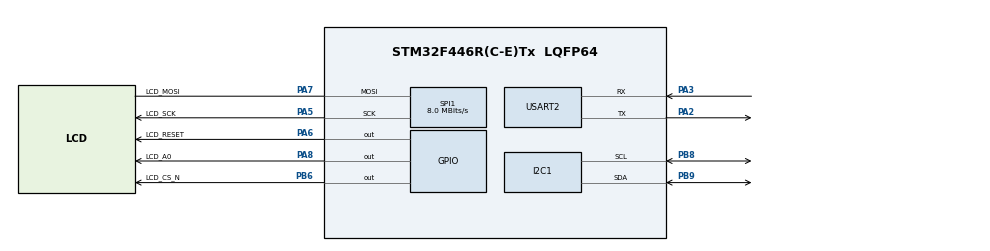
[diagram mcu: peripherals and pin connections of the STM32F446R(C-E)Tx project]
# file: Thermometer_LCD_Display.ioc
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Mcu.Family=STM32F4
Mcu.Name=STM32F446R(C-E)Tx
Mcu.Package=LQFP64
NVIC.PriorityGroup=NVIC_PRIORITYGROUP_4
NVIC.TIM7_IRQn=true\:0\:0\:false\:false\:true\:true\:true\:true
NVIC.USART2_IRQn=true\:0\:0\:false\:false\:true\:true\:true\:true
PA2.Mode=Asynchronous
PA2.Signal=USART2_TX
PA3.Mode=Asynchronous
PA3.Signal=USART2_RX
PA5.GPIO_Label=LCD_SCK
PA5.Mode=Simplex_Bidirectional_Master
PA5.Signal=SPI1_SCK
PA6.GPIO_Label=LCD_RESET
PA6.Signal=GPIO_Output
PA7.GPIO_Label=LCD_MOSI
PA7.Mode=Simplex_Bidirectional_Master
PA7.Signal=SPI1_MOSI
PA8.GPIO_Label=LCD_A0
PA8.Signal=GPIO_Output
PB6.GPIO_Label=LCD_CS_N
PB6.Signal=GPIO_Output
PB8.Mode=I2C
PB8.Signal=I2C1_SCL
PB9.Mode=I2C
PB9.Signal=I2C1_SDA
ProjectManager.HeapSize=0x200
ProjectManager.StackSize=0x400
ProjectManager.TargetToolchain=STM32CubeIDE
RCC.CortexFreq_Value=16000000
RCC.USBFreq_Value=96000000
RCC.VCOOutputFreq_Value=192000000
SPI1.CalculateBaudRate=8.0 MBits/s
SPI1.Direction=SPI_DIRECTION_1LINE
SPI1.Mode=SPI_MODE_MASTER
SPI1.VirtualType=VM_MASTER
TIM7.Period=200
TIM7.Prescaler=15999
USART2.VirtualMode=VM_ASYNC
VP_TIM7_VS_ClockSourceINT.Mode=Enable_Timer
board=custom

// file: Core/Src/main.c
/* USER CODE BEGIN Header */
/**
 ******************************************************************************
 * @file           : main.c
 * @brief          : Main program body
 ******************************************************************************
 * @attention
 *
 * Copyright (c) 2024 STMicroelectronics.
 * All rights reserved.
 *
 * This software is licensed under terms that can be found in the LICENSE file
 * in the root directory of this software component.
 * If no LICENSE file comes with this software, it is provided AS-IS.
 *
 ******************************************************************************
 */
/* USER CODE END Header */
#include "main.h"
#include "i2c.h"
#include "spi.h"
#include "tim.h"
#include "usart.h"
#include "gpio.h"
#include "lcd_driver.h"
#include "stdio.h"
#include "thermo.h"

/* USER CODE BEGIN PV */
int doUpdate = 0;
int yPosition = 4;                  // initial vertical position
int xPosition = 4;                  // initial Horizontal position
int direction = 1;                  // direction of movement (1 = down, -1 = up)

/* USER CODE END PV */

void SystemClock_Config(void);
/* USER CODE BEGIN PFP */
void displayWelcome(void);
int _write(int fd, char *ptr, int len);

/* USER CODE END PFP */

int main(void)
{

	/* MCU Configuration--------------------------------------------------------*/

	/* Reset of all peripherals, Initializes the Flash interface and the Systick. */
	HAL_Init();

	/* Configure the system clock */
	SystemClock_Config();

	/* Initialize all configured peripherals */
	MX_GPIO_Init();
	MX_USART2_UART_Init();
	MX_I2C1_Init();
	MX_SPI1_Init();
	MX_TIM7_Init();
	/* USER CODE BEGIN 2 */

	displayWelcome();

	// Initialize LCD
	lcd_init();
	lcd_clear();

	// Set it to some line
	lcd_setLine(127,0,127,31,1);
	lcd_setLine(0,0,0,31,1);
	lcd_setString(4,3,"All Ladies say", LCD_FONT_8,false);
	lcd_setString(4,15,"'WE LOVE ❤️ ' ",LCD_FONT_8,false);
	lcd_setString(4,25," THE  K - man!  ",LCD_FONT_8,false);
	lcd_show();
	HAL_Delay(2500);
	lcd_clear();

	// Start the Timer
	HAL_TIM_Base_Start_IT(&htim7); // We wanna read the temp every 200ms

	/* USER CODE END 2 */

	/* Infinite loop */
	/* USER CODE BEGIN WHILE */
	char msgBuf[30]; // Preparing Buffer for the message
	while (1)
	{
//		if(doUpdate)
//		{
//			doUpdate = 0; 				// reset update flag
//			float tmp = readTemp(); 	// read actual temperature
//			sprintf(msgBuf,"Temperature: %2.1f%cC",tmp,0x80); // fill message buffer
//			lcd_setString(4,4, msgBuf,LCD_FONT_8, false); // lcd message
//			lcd_show();
//			puts(msgBuf); // Uart message
//			puts("\r");
//		}

		if (doUpdate) {
		        doUpdate = 0;               // reset update flag
		        float tmp = readTemp();     // read actual temperature
		        sprintf(msgBuf, "Temperature: %2.2f %cC", tmp, 0x80); // fill message buffer
		        lcd_clear();

		        // Display temperature at current y-position
		        lcd_setString(xPosition, yPosition, msgBuf, LCD_FONT_8, false);
		        lcd_show();
		        puts(msgBuf);               // Uart message
		        puts("\r");

		        // Adjust y-position for smooth gliding effect
		        yPosition += direction;     // move position up or down

		        // Reverse direction if boundaries are reached
		        if (yPosition >= 16 || yPosition <= 4) {
		            direction *= -1;        // change direction
		        }

		        HAL_Delay(50); // delay to control glide speed
		    }
		/* USER CODE END WHILE */

	}
}

void SystemClock_Config(void)
{
	RCC_OscInitTypeDef RCC_OscInitStruct = {0};
	RCC_ClkInitTypeDef RCC_ClkInitStruct = {0};

	/** Configure the main internal regulator output voltage
	 */
	__HAL_RCC_PWR_CLK_ENABLE();
	__HAL_PWR_VOLTAGESCALING_CONFIG(PWR_REGULATOR_VOLTAGE_SCALE3);

	/** Initializes the RCC Oscillators according to the specified parameters
	 * in the RCC_OscInitTypeDef structure.
	 */
	RCC_OscInitStruct.OscillatorType = RCC_OSCILLATORTYPE_HSI;
	RCC_OscInitStruct.HSIState = RCC_HSI_ON;
	RCC_OscInitStruct.HSICalibrationValue = RCC_HSICALIBRATION_DEFAULT;
	RCC_OscInitStruct.PLL.PLLState = RCC_PLL_NONE;
	if (HAL_RCC_OscConfig(&RCC_OscInitStruct) != HAL_OK)
	{
		Error_Handler();
	}

	/** Initializes the CPU, AHB and APB buses clocks
	 */
	RCC_ClkInitStruct.ClockType = RCC_CLOCKTYPE_HCLK|RCC_CLOCKTYPE_SYSCLK
			|RCC_CLOCKTYPE_PCLK1|RCC_CLOCKTYPE_PCLK2;
	RCC_ClkInitStruct.SYSCLKSource = RCC_SYSCLKSOURCE_HSI;
	RCC_ClkInitStruct.AHBCLKDivider = RCC_SYSCLK_DIV1;
	RCC_ClkInitStruct.APB1CLKDivider = RCC_HCLK_DIV1;
	RCC_ClkInitStruct.APB2CLKDivider = RCC_HCLK_DIV1;

	if (HAL_RCC_ClockConfig(&RCC_ClkInitStruct, FLASH_LATENCY_0) != HAL_OK)
	{
		Error_Handler();
	}
}

/* USER CODE BEGIN 4 */
int _write(int fd, char *ptr, int len)
{
	if(HAL_UART_Transmit(&huart2, (uint8_t *)ptr, len, HAL_MAX_DELAY)== HAL_OK)
		return len;
	else
		return -1;
}

void displayWelcome()
{
	puts("******** LETS PRACTICE ******** \r\n");
	puts("- Uart connection ... Done\r\n");
	puts("- printf retargeting to uart ... Done\r\n");
	puts("- Temperature Sensor connection ... Done\r\n");
	puts("***************************** \r\n");
}

void HAL_TIM_PeriodElapsedCallback(TIM_HandleTypeDef *htim)
{
	doUpdate = 1;
}

/* USER CODE END 4 */

void Error_Handler(void)
{
	__disable_irq();
	while (1)
	{
	}
}
